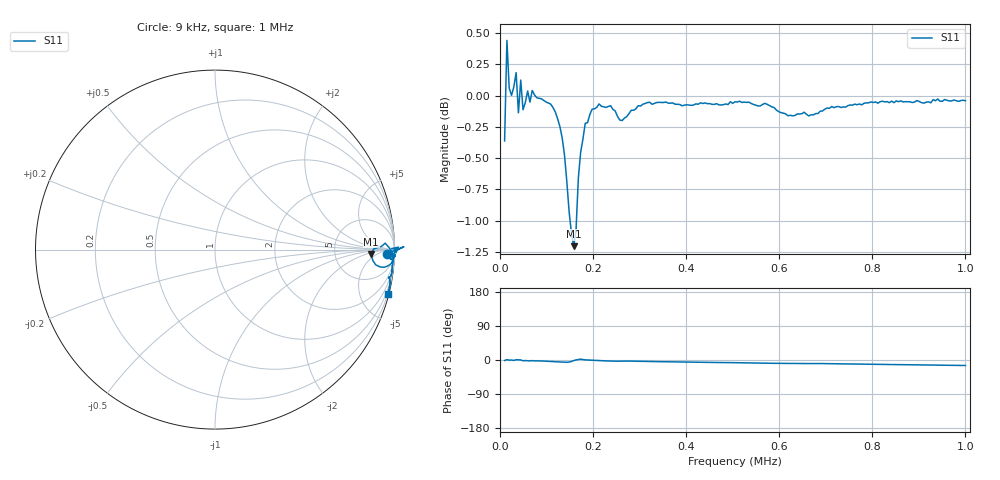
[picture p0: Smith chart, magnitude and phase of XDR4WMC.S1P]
!Agilent Technologies,E5071C,MY46100305,A.07.02
!Date: Fri Jan 01 00:43:29 1988
!Data & Calibration Information:
!Freq	S11:SOLT1(ON)
# Hz S MA R 50
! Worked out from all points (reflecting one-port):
!   201 points, 9 kHz to 1 MHz, reference 50 ohm
!   lowest |S11| = -1.2 dB at 157.7 kHz (marker M1), VSWR 14.46, Z = 696 - j137 ohm
!   phase of S11 starts at -1 deg and turns -13 deg over the sweep
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9000  0.9592 -1.3
13955  1.052 0.9
18910  1.007 -0.4
23865  1 -0.1
28820  1.008 -1.0
33775  1.021 0.8
38730  0.9844 0.3
43685  1.014 0.2
48640  0.9871 -2.1
58550  1.004 -2.1
63505  0.9941 -2.5
68460  1.005 -1.6
113055  0.9892 -4.0
132875  0.9618 -5.6
147740  0.8987 -5.4
157650  0.8706 -1.6
162605  0.8836 0.2
167560  0.9268 1.1
172515  0.9491 2.2
182425  0.9749 0.3
212155  0.9925 -1.6
256750  0.9779 -3.1
380625  0.9921 -5.2
504500  0.9944 -7.1
628375  0.9816 -9.0
752250  0.9915 -10.4
876125  0.9945 -12.5
1000000  0.9954 -14.5
